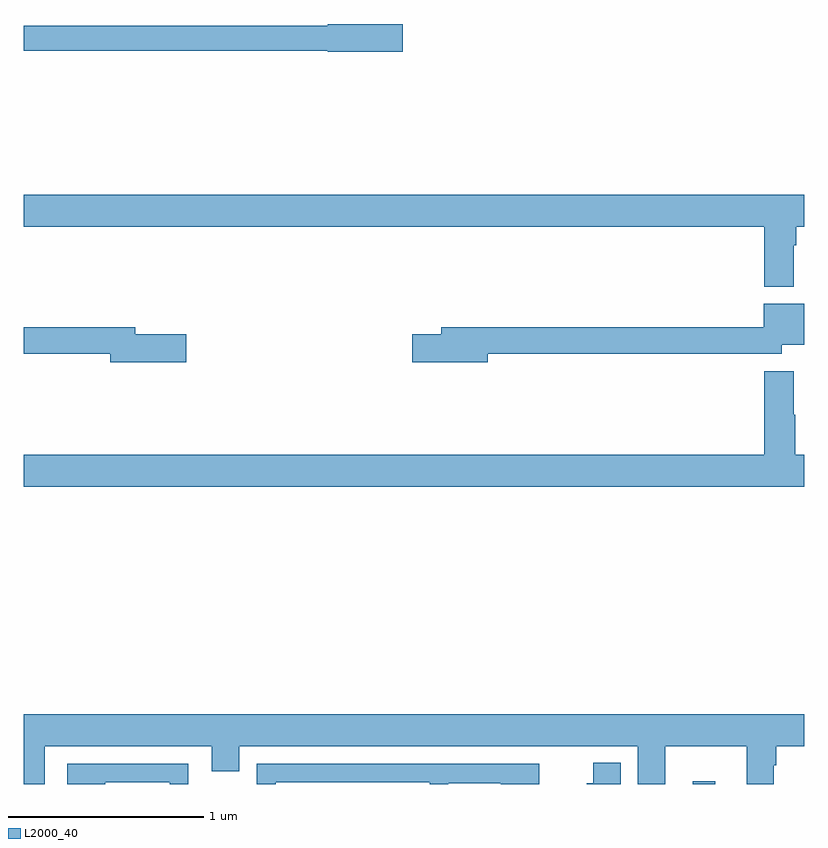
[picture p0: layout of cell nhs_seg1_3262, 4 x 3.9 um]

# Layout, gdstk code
import gdstk
lib = gdstk.Library(unit=1e-6, precision=1e-09)
def R(c, l, rs):  # rectangles x0, y0, x1, y1
    for r in rs: c.add(gdstk.rectangle(r[:2], r[2:], *l))
def P(c, l, *ps):  # polygons
    for p in ps: c.add(gdstk.Polygon(p, *l))
L2000_40 = (2000, 40)

nhs_seg1_3262 = lib.new_cell('nhs_seg1_3262')
R(nhs_seg1_3262, L2000_40, [(290.429,558.199,290.545,558.214)])
P(nhs_seg1_3262, L2000_40, [(288.943,562.095),(288.558,562.095),(288.558,562.087),(287,562.087),(287,561.958),(288.558,561.958),(288.558,561.953),(288.943,561.953)],
  [(290.947,560.96),(290.96,560.96),(290.96,561.056),(291,561.056),(291,561.22),(287,561.22),(287,561.056),(290.795,561.056),(290.795,560.747),(290.947,560.747)],
  [(289.378,560.404),(290.886,560.404),(290.886,560.45),(291,560.45),(291,560.662),(290.792,560.662),(290.792,560.54),(289.139,560.54),(289.139,560.504),(288.99,560.504),(288.99,560.362),(289.378,560.362)],
  [(287.833,560.504),(287.572,560.504),(287.572,560.54),(287,560.54),(287,560.404),(287.444,560.404),(287.444,560.362),(287.833,560.362)],
  [(291,559.888),(290.955,559.888),(290.955,560.093),(290.947,560.093),(290.947,560.314),(290.795,560.314),(290.795,559.888),(287,559.888),(287,559.724),(291,559.724)],
  [(287.107,558.392),(287.963,558.392),(287.963,558.265),(288.103,558.265),(288.103,558.392),(290.147,558.392),(290.147,558.199),(290.287,558.199),(290.287,558.392),(290.705,558.392),(290.705,558.199),(290.845,558.199),(290.845,558.296),(290.858,558.296),(290.858,558.392),(291,558.392),(291,558.556),(287,558.556),(287,558.199),(287.107,558.199)],
  [(290.059,558.307),(289.919,558.307),(289.919,558.202),(289.886,558.202),(289.886,558.199),(290.059,558.199)],
  [(288.291,558.207),(289.08,558.207),(289.08,558.199),(289.176,558.199),(289.176,558.203),(289.445,558.203),(289.445,558.199),(289.641,558.199),(289.641,558.304),(289.183,558.304),(289.183,558.303),(288.195,558.303),(288.195,558.199),(288.291,558.199)],
  [(287.416,558.207),(287.748,558.207),(287.748,558.199),(287.844,558.199),(287.844,558.303),(287.223,558.303),(287.223,558.199),(287.416,558.199)])

lib.write_gds('nhs_seg1_3262.gds')
